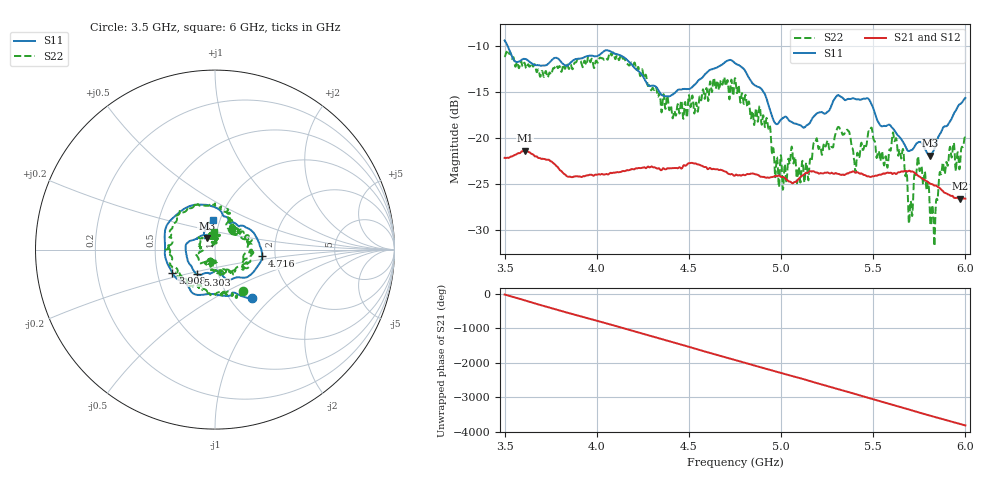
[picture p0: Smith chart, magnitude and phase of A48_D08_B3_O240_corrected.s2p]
! Created with skrf 1.9.0 (http://scikit-rf.org).
# Hz S RI R 50.0
!freq ReS11 ImS11 ReS21 ImS21 ReS12 ImS12 ReS22 ImS22
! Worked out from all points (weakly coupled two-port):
!   1601 points, 3.5 GHz to 6 GHz, reference 50 ohm
!   highest |S21| = -21.41 dB at 3.611 GHz (marker M1); lowest = -26.6 dB at 5.97 GHz (marker M2)
!   lowest |S11| = -22.0 dB at 5.808 GHz (marker M3), VSWR 1.17, Z = 45.2 + j5.95 ohm
!   |S11| at or under -10 dB: 3.517 GHz to end of sweep
!   |S22| runs from -31.8 to -10.6 dB; largest |S21 - S12| = 0.001
!   S11 on the Smith chart (normalised r, x): 3.5 GHz: 1.25, -0.77; 3.908 GHz: 0.60, -0.17; 4.716 GHz: 1.71, -0.13; 5.303 GHz: 0.79, -0.23; 6 GHz: 0.93, +0.31
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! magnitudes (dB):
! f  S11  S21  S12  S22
! 3.5 GHz  -9.4  -22.2  -22.1  -11.1
! 3.611 GHz  -11.4  -21.4  -21.4  -12.0
! 3.908 GHz  -11.4  -24.2  -24.2  -11.6
! 3.917 GHz  -11.3  -24.3  -24.2  -11.9
! 4.139 GHz  -11.1  -23.6  -23.6  -11.3
! 4.334 GHz  -14.8  -23.3  -23.3  -15.5
! 4.42 GHz  -15.2  -23.3  -23.3  -17.0
! 4.716 GHz  -11.5  -23.9  -24.0  -15.0
! 4.75 GHz  -11.8  -24.1  -24.0  -13.5
! 4.93 GHz  -16.3  -24.3  -24.3  -18.9
! 4.98 GHz  -18.5  -24.2  -24.1  -22.4
! 5.167 GHz  -17.9  -23.7  -23.6  -22.4
! 5.303 GHz  -15.4  -23.9  -23.9  -19.1
! 5.584 GHz  -18.6  -23.8  -23.8  -21.8
! 5.655 GHz  -20.2  -23.7  -23.6  -22.1
! 5.702 GHz  -21.4  -23.6  -23.6  -26.9
! 5.75 GHz  -20.4  -24.2  -24.2  -23.5
! 5.808 GHz  -22.0  -25.0  -25.0  -28.4
! 5.823 GHz  -21.5  -25.1  -25.1  -27.7
! 5.869 GHz  -19.3  -25.6  -25.6  -24.0
! 5.97 GHz  -16.3  -26.6  -26.6  -23.2
! 6 GHz  -15.6  -26.6  -26.6  -20.0
